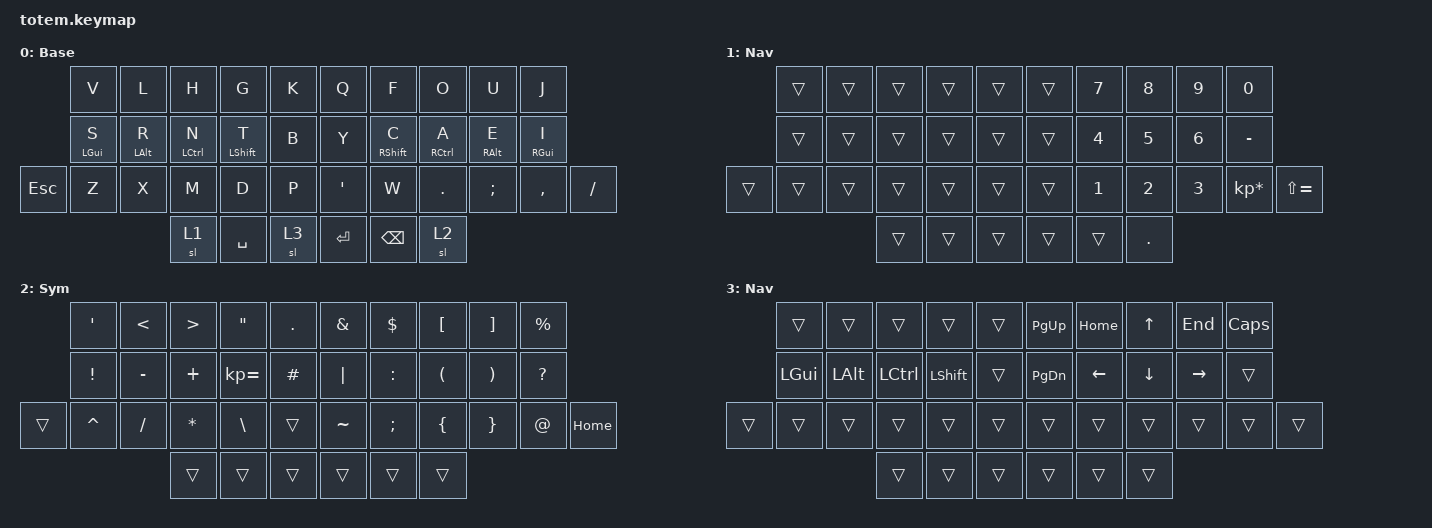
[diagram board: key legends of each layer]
//
//                                                        ▀▀▀▀▀     ▀▀▀▀▀          ▀▀█▀▀
//                                                        ▄▀▀▀▄  ▄  ▄▀▀▀▄  ▄  ▄▀▀▀▄  █  ▄▀▀▀▄
//                                                        █   █  █  █   █  █  █   █  █  █   █
//                                                         ▀▀▀   █   ▀▀▀   █   ▀▀▀   ▀   ▀▀▀
//                                                               █      ▄▄▄█▄▄▄    █   █  
//                                                               ▀      █  █  █     █▄█
//                                                             ▀▀▀▀▀    █  █  █      ▀
//                                                                      ▀  ▀  ▀
//
// ▄▄▄▄▄▄▄▄▄▄▄▄▄▄▄▄▄▄▄▄▄▄▄▄▄▄▄▄▄▄▄▄▄▄▄▄▄▄▄▄▄▄▄▄▄▄▄▄▄▄▄▄▄▄▄▄▄▄▄▄▄▄▄▄▄▄▄▄▄▄▄▄▄▄▄▄▄▄▄▄▄▄▄▄▄▄▄▄▄▄▄▄▄▄▄▄▄▄▄▄▄▄▄▄▄▄▄▄▄▄▄▄▄▄▄▄▄▄▄▄▄▄▄▄▄▄▄▄▄▄▄▄▄▄▄▄▄▄▄▄▄▄▄▄▄▄▄▄▄

#include <behaviors.dtsi>
#include <dt-bindings/zmk/keys.h>

#define Base        0
#define Nav         1
#define Sym         2
#define Fun         3
#define Game        4
#define Gameplus    5

&mt {
    quick-tap-ms = <100>;
    global-quick-tap;
    flavor = "tap-preferred";
    tapping-term-ms = <170>;
};

&lt {
    tapping-term-ms = <240>;
    flavor = "balanced";
    quick-tap-ms = <150>;
};

/ {
    behaviors {
        hm: homerow_mods {
            compatible = "zmk,behavior-hold-tap";
            label = "HOMEROW_MODS";
            #binding-cells = <2>;
            flavor = "tap-preferred";
            tapping-term-ms = <200>;
            quick-tap-ms = <125>;
            global-quick-tap;
            bindings = <&kp>, <&kp>;
        };
    };

    combos { compatible = "zmk,combos"; };

    keymap {
        compatible = "zmk,keymap";

        Base {
            display-name = "Base";
            bindings = <
         &kp V       &kp L       &kp H        &kp G         &kp K    &kp Q    &kp F          &kp O        &kp U          &kp J
         &hm LGUI S  &hm LALT R  &hm LCTRL N  &hm LSHIFT T  &kp B    &kp Y    &hm RSHFT C    &hm RCTRL A  &hm RALT E     &hm RGUI I
&kp ESC  &kp Z       &kp X       &kp M        &kp D         &kp P    &kp SQT  &kp W          &kp PERIOD   &kp SEMICOLON  &kp COMMA   &kp SLASH
                                 &sl 1        &kp SPACE     &sl 3    &kp RET  &kp BACKSPACE  &sl 2
            >;
        };

        Num {
            display-name = "Nav";
            bindings = <
        &trans  &trans  &trans  &trans  &trans    &trans  &kp NUMBER_7  &kp NUMBER_8  &kp NUMBER_9  &kp NUMBER_0
        &trans  &trans  &trans  &trans  &trans    &trans  &kp NUMBER_4  &kp NUMBER_5  &kp NUMBER_6  &kp MINUS
&trans  &trans  &trans  &trans  &trans  &trans    &trans  &kp NUMBER_1  &kp NUMBER_2  &kp NUMBER_3  &kp KP_MULTIPLY  &kp LS(EQUAL)
                        &trans  &trans  &trans    &trans  &trans        &kp DOT
            >;
        };

        Sym {
            display-name = "Sym";
            bindings = <
        &kp SINGLE_QUOTE  &kp LESS_THAN  &kp GREATER_THAN  &kp DOUBLE_QUOTES  &kp PERIOD    &kp AMPERSAND  &kp DOLLAR     &kp LEFT_BRACKET      &kp RIGHT_BRACKET      &kp PERCENT
        &kp EXCLAMATION   &kp MINUS      &kp PLUS          &kp KP_EQUAL       &kp HASH      &kp PIPE       &kp COLON      &kp LEFT_PARENTHESIS  &kp RIGHT_PARENTHESIS  &kp QUESTION
&trans  &kp CARET         &kp SLASH      &kp STAR          &kp BACKSLASH      &trans        &kp TILDE      &kp SEMICOLON  &kp LEFT_BRACE        &kp RIGHT_BRACE        &kp AT_SIGN   &kp HOME
                                         &trans            &trans             &trans        &trans         &trans         &trans
            >;
        };

        Nav {
            bindings = <
        &trans        &trans        &trans     &trans          &trans    &kp PAGE_UP    &kp HOME  &kp UP    &kp END    &kp CAPSLOCK
        &kp LEFT_GUI  &kp LEFT_ALT  &kp LCTRL  &kp LEFT_SHIFT  &trans    &kp PAGE_DOWN  &kp LEFT  &kp DOWN  &kp RIGHT  &trans
&trans  &trans        &trans        &trans     &trans          &trans    &trans         &trans    &trans    &trans     &trans        &trans
                                    &trans     &trans          &trans    &trans         &trans    &trans
            >;
        };
    };
};
